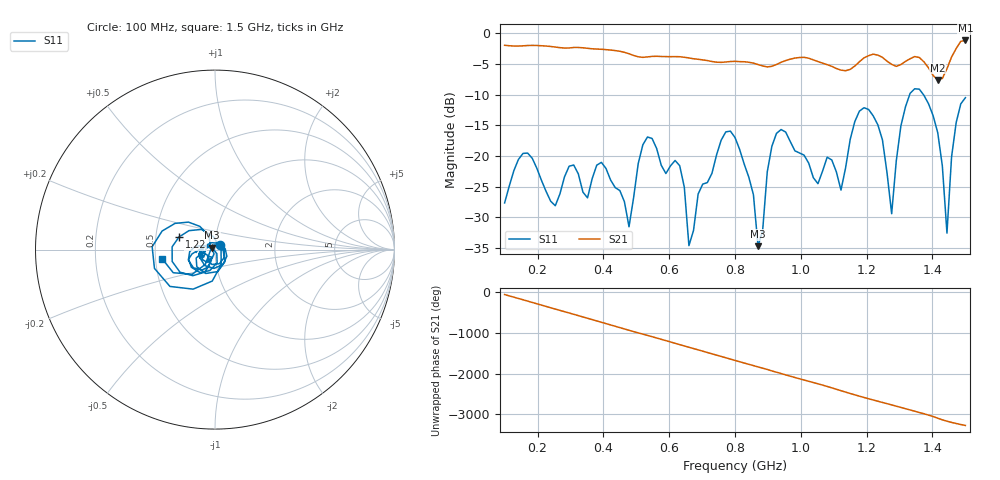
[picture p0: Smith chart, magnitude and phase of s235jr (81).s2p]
! NanoVNA-App
! Date: 2025-09-26 09:45:25
! Start: 100MHz Stop: 1,5GHz Points: 101
! S-Parameter data: F S11 S21 S12 S22
# Hz S RI R 50
!  Frequency  S11_Real  S11_Imag  S21_Real  S21_Imag  S12_Real  S12_Imag  S22_Real  S22_Imag
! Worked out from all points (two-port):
!   101 points, 100 MHz to 1.5 GHz, reference 50 ohm
!   highest |S21| = -1.17 dB at 1.5 GHz (marker M1); lowest = -7.6 dB at 1.416 GHz (marker M2)
!   |S21| within 3 dB of the highest: start of sweep to 676.6 MHz; 1.188 GHz to 1.254 GHz (65.18 MHz wide, 5.34 % of centre) (the widest 2 of 5)
!   lowest |S11| = -34.7 dB at 870 MHz (marker M3), VSWR 1.04, Z = 48.5 + j0.999 ohm
!   |S11| at or under -10 dB: start of sweep to 1.331 GHz; 1.373 GHz to end of sweep
!   S12 and S22 are empty: the file has one direction only
!   S11 on the Smith chart (normalised r, x): 100 MHz: 1.06, +0.06; 1.22 GHz: 0.66, +0.10; 1.5 GHz: 0.54, -0.06
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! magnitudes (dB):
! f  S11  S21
! 100 MHz  -27.6  -2.0
! 156 MHz  -19.6  -2.0
! 338 MHz  -25.9  -2.4
! 394 MHz  -21.0  -2.6
! 478 MHz  -31.5  -3.3
! 520 MHz  -18.2  -3.9
! 576 MHz  -21.5  -3.8
! 632 MHz  -21.6  -3.8
! 660 MHz  -34.6  -4.0
! 800 MHz  -17.0  -4.6
! 870 MHz  -34.7  -5.1
! 926 MHz  -16.3  -5.1
! 1.038 GHz  -23.5  -4.3
! 1.122 GHz  -25.6  -6.0
! 1.164 GHz  -14.4  -5.3
! 1.22 GHz  -13.5  -3.4
! 1.276 GHz  -29.4  -5.1
! 1.332 GHz  -9.8  -4.1
! 1.416 GHz  -16.2  -7.6
! 1.444 GHz  -32.6  -5.8
! 1.472 GHz  -14.5  -2.5
! 1.5 GHz  -10.5  -1.2
